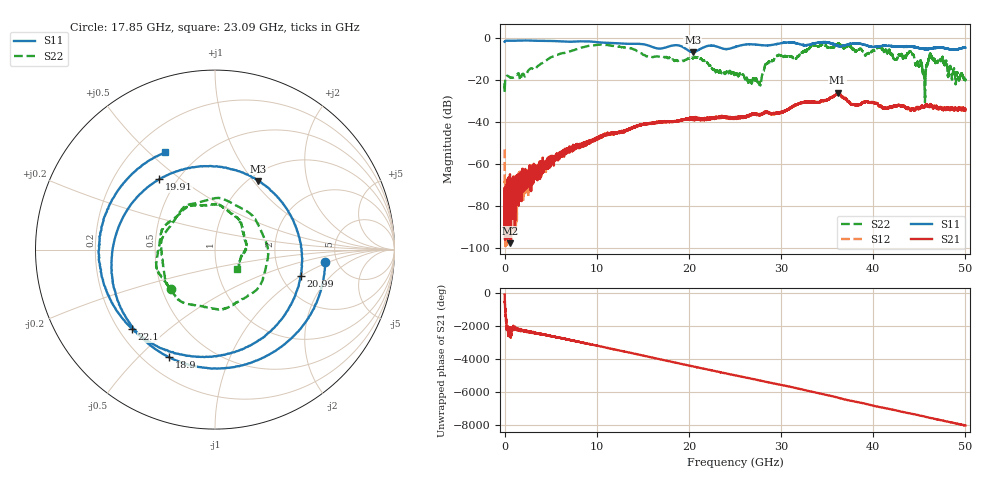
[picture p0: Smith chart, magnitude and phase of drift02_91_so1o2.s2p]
!Created with skrf (http://scikit-rf.org).
# Hz S RI R 50.0
!freq ReS11 ImS11 ReS21 ImS21 ReS12 ImS12 ReS22 ImS22
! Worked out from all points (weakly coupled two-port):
!   10001 points, 300 kHz to 50 GHz, reference 50 ohm
!   highest |S21| = -26.22 dB at 36.13 GHz (marker M1); lowest = -98.0 dB at 635.3 MHz (marker M2)
!   lowest |S11| = -6.9 dB at 20.41 GHz (marker M3), VSWR 2.64, Z = 55.1 + j52.8 ohm
!   |S11| at or under -10 dB: nowhere
!   |S22| runs from -30.8 to -2.6 dB; largest |S21 - S12| = 0.0052
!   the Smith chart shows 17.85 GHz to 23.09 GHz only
!   S11 on the Smith chart (normalised r, x): 17.85 GHz: 4.00, -0.89; 18.9 GHz: 0.30, -0.62; 19.91 GHz: 0.40, +0.42; 20.99 GHz: 2.54, -1.01; 22.1 GHz: 0.25, -0.38; 23.09 GHz: 0.33, +0.56
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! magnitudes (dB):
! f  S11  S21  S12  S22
! 300 kHz  -2.0  -71.9  -53.3  -21.7
! 255.3 MHz  -1.4  -79.3  -99.2  -18.2
! 635.3 MHz  -1.5  -98.0  -74.7  -19.0
! 8.335 GHz  -1.7  -51.4  -51.1  -4.7
! 16.67 GHz  -5.2  -40.4  -40.3  -9.0
! 17.85 GHz  -4.2  -40.1  -40.0  -9.7
! 18.9 GHz  -3.7  -39.5  -39.7  -10.8
! 19.91 GHz  -6.0  -38.7  -38.6  -9.9
! 20.41 GHz  -6.9  -38.4  -38.7  -9.8
! 20.99 GHz  -6.0  -38.7  -38.4  -9.3
! 22.1 GHz  -3.9  -38.9  -38.8  -12.6
! 23.09 GHz  -4.3  -37.8  -38.0  -15.7
! 25 GHz  -4.5  -38.4  -38.2  -17.8
! 27.63 GHz  -3.5  -36.5  -36.6  -21.2
! 29.54 GHz  -3.0  -36.0  -36.1  -8.8
! 33.34 GHz  -3.0  -30.5  -30.6  -3.8
! 36.13 GHz  -3.9  -26.2  -26.9  -3.1
! 41.67 GHz  -3.9  -33.2  -33.5  -6.2
! 44.15 GHz  -4.2  -34.2  -34.3  -7.1
! 45.52 GHz  -5.4  -32.8  -32.8  -18.7
! 47.35 GHz  -4.8  -33.1  -33.2  -11.3
! 50 GHz  -4.7  -34.6  -34.4  -20.1
